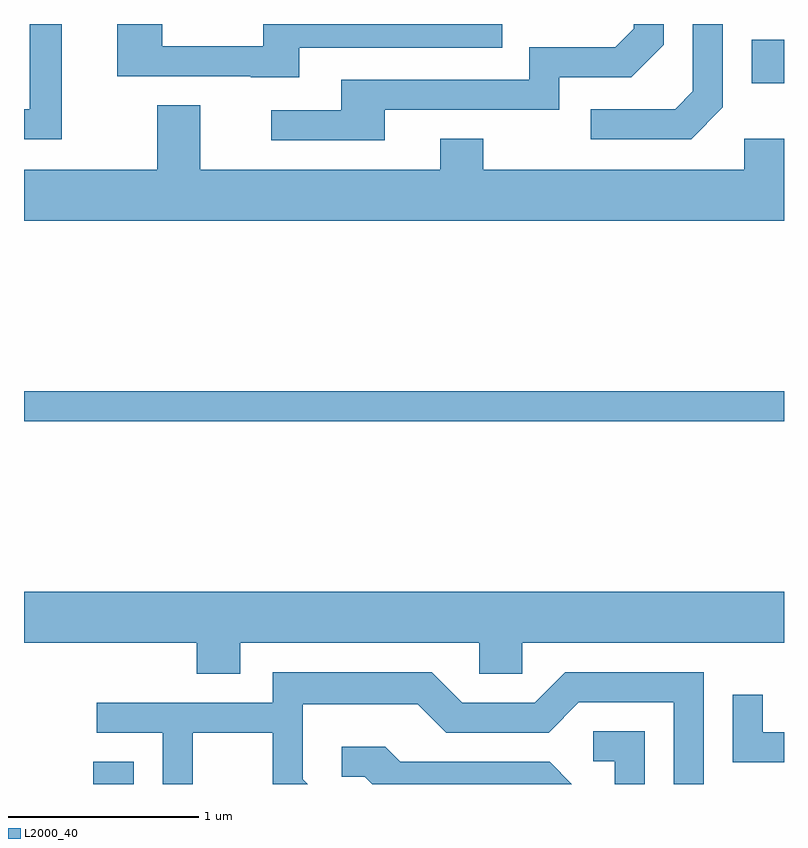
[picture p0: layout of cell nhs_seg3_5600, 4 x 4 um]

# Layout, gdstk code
import gdstk
lib = gdstk.Library(unit=1e-6, precision=1e-09)
def R(c, l, rs):  # rectangles x0, y0, x1, y1
    for r in rs: c.add(gdstk.rectangle(r[:2], r[2:], *l))
def P(c, l, *ps):  # polygons
    for p in ps: c.add(gdstk.Polygon(p, *l))
L2000_40 = (2000, 40)

nhs_seg3_5600 = lib.new_cell('nhs_seg3_5600')
R(nhs_seg3_5600, L2000_40, [(349.976,1171.892,350.189,1172.009), (349.611,1173.801,353.611,1173.959), (353.441,1175.581,353.611,1175.809)])
P(nhs_seg3_5600, L2000_40, [(351.509,1175.441),(352.429,1175.441),(352.429,1175.611),(352.807,1175.611),(352.979,1175.784),(352.979,1175.892),(352.821,1175.892),(352.821,1175.867),(352.724,1175.769),(352.271,1175.769),(352.271,1175.599),(351.281,1175.599),(351.281,1175.439),(350.913,1175.439),(350.913,1175.281),(351.509,1175.281)],
  [(351.059,1175.766),(352.128,1175.766),(352.128,1175.892),(350.871,1175.892),(350.871,1175.774),(350.339,1175.774),(350.339,1175.892),(350.101,1175.892),(350.101,1175.616),(350.805,1175.616),(350.805,1175.611),(351.059,1175.611)],
  [(349.809,1175.892),(349.641,1175.892),(349.641,1175.444),(349.611,1175.444),(349.611,1175.286),(349.809,1175.286)],
  [(353.289,1175.454),(353.289,1175.892),(353.131,1175.892),(353.131,1175.537),(353.039,1175.444),(352.593,1175.444),(352.593,1175.286),(353.122,1175.286)],
  [(353.611,1175.289),(353.401,1175.289),(353.401,1175.124),(352.029,1175.124),(352.029,1175.289),(351.801,1175.289),(351.801,1175.124),(350.539,1175.124),(350.539,1175.464),(350.311,1175.464),(350.311,1175.124),(349.611,1175.124),(349.611,1174.856),(353.611,1174.856)],
  [(350.749,1172.636),(352.006,1172.636),(352.006,1172.471),(352.234,1172.471),(352.234,1172.636),(353.611,1172.636),(353.611,1172.904),(349.611,1172.904),(349.611,1172.636),(350.521,1172.636),(350.521,1172.471),(350.749,1172.471)],
  [(350.499,1172.161),(350.921,1172.161),(350.921,1171.892),(351.104,1171.892),(351.079,1171.917),(351.079,1172.311),(351.684,1172.311),(351.834,1172.161),(352.372,1172.161),(352.532,1172.321),(353.031,1172.321),(353.031,1171.892),(353.189,1171.892),(353.189,1172.479),(352.459,1172.479),(352.299,1172.319),(351.917,1172.319),(351.757,1172.479),(350.921,1172.479),(350.921,1172.319),(349.993,1172.319),(349.993,1172.161),(350.341,1172.161),(350.341,1171.892),(350.499,1171.892)],
  [(353.611,1172.164),(353.499,1172.164),(353.499,1172.363),(353.341,1172.363),(353.341,1172.006),(353.611,1172.006)],
  [(352.879,1172.169),(352.608,1172.169),(352.608,1172.011),(352.721,1172.011),(352.721,1171.892),(352.879,1171.892)],
  [(352.377,1172.009),(351.592,1172.009),(351.512,1172.089),(351.283,1172.089),(351.283,1171.931),(351.404,1171.931),(351.443,1171.892),(352.494,1171.892)])

lib.write_gds('nhs_seg3_5600.gds')
